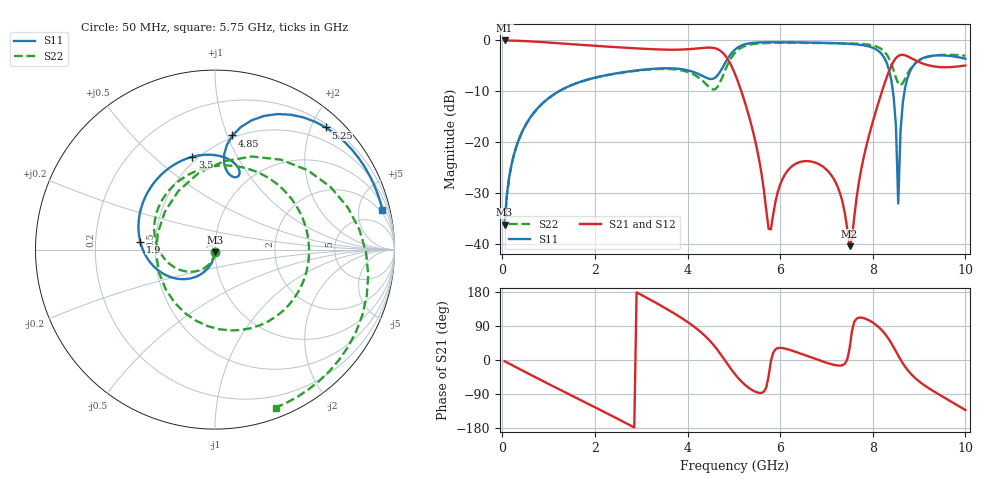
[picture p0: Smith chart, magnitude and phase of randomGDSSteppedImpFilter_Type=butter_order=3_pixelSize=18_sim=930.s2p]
! freq	dB(S11)	phase(S11)	dB(S12)	phase(S12)
!  dB(S21)	phase(S21)	dB(S22)	phase(S22)
!S-par simulation data
#  GHz  S  DB  R 50
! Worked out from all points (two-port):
!   200 points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, 50 MHz to 10 GHz, reference 50 ohm
!   highest |S21| = -0.01 dB at 50 MHz (marker M1); lowest = -40.4 dB at 7.5 GHz (marker M2)
!   |S21| within 3 dB of the highest: start of sweep to 4.816 GHz; 8.561 GHz to 8.719 GHz (158.2 MHz wide, 1.83 % of centre)
!   lowest |S11| = -36.2 dB at 50 MHz (marker M3), VSWR 1.03, Z = 49.9 - j1.54 ohm
!   |S11| at or under -10 dB: start of sweep to 1.223 GHz; 8.435 GHz to 8.687 GHz (252.1 MHz wide, 2.94 % of centre)
!   |S22| runs from -36.3 to -0.5 dB; largest |S21 - S12| = 0
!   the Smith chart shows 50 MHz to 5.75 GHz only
!   S11 on the Smith chart (normalised r, x): 50 MHz: 1.00, -0.03; 1.9 GHz: 0.41, +0.04; 3.5 GHz: 0.47, +0.67; 4.85 GHz: 0.48, +1.04; 5.25 GHz: 0.26, +2.23; 5.75 GHz: 1.48, +8.22
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0.05  -36.24 -91.2  -0.01 -3.3  -0.01 -3.3  -36.25 -92.2
0.5  -16.70 -117.5  -0.14 -32.0  -0.14 -32.0  -16.71 -127.4
1.75  -7.95 -179.4  -0.91 -109.3  -0.91 -109.3  -7.97 139.4
1.9  -7.55 173.9  -1.00 -118.5  -1.00 -118.5  -7.58 127.8
3.4  -5.51 108.3  -1.78 145.2  -1.78 145.2  -5.61 1.8
3.5  -5.48 103.8  -1.81 138.2  -1.81 138.2  -5.60 -7.4
4.25  -6.65 73.2  -1.55 77.5  -1.55 77.5  -7.36 -95.3
4.6  -7.31 80.0  -1.56 34.0  -1.56 34.0  -9.59 164.4
4.85  -3.83 81.3  -3.43 -8.5  -3.43 -8.5  -5.07 68.3
5.05  -1.61 65.3  -7.18 -41.4  -7.18 -41.4  -2.20 17.6
5.25  -0.74 47.8  -12.51 -66.5  -12.51 -66.5  -1.07 -17.0
5.75  -0.36 13.4  -37.01 -43.4  -37.01 -43.4  -0.51 -69.0
6.7  -0.44 -36.6  -23.87 5.4  -23.87 5.4  -0.50 -126.6
7.25  -0.57 -64.1  -28.95 -14.7  -28.95 -14.7  -0.55 -154.2
7.5  -0.68 -77.6  -40.45 30.6  -40.45 30.6  -0.60 -167.1
8.35  -5.76 -157.8  -6.07 54.2  -6.07 54.2  -3.55 133.0
8.5  -16.78 175.9  -3.47 22.7  -3.47 22.7  -7.33 130.5
8.55  -32.06 -115.1  -3.05 11.7  -3.05 11.7  -8.49 137.7
8.65  -12.14 -47.4  -2.84 -8.9  -2.84 -8.9  -8.37 156.4
8.8  -6.17 -69.7  -3.35 -33.4  -3.35 -33.4  -5.78 161.8
9.3  -3.01 -118.0  -5.09 -81.5  -5.09 -81.5  -3.02 134.4
10  -3.60 -175.9  -4.93 -132.0  -4.93 -132.0  -3.01 95.5
